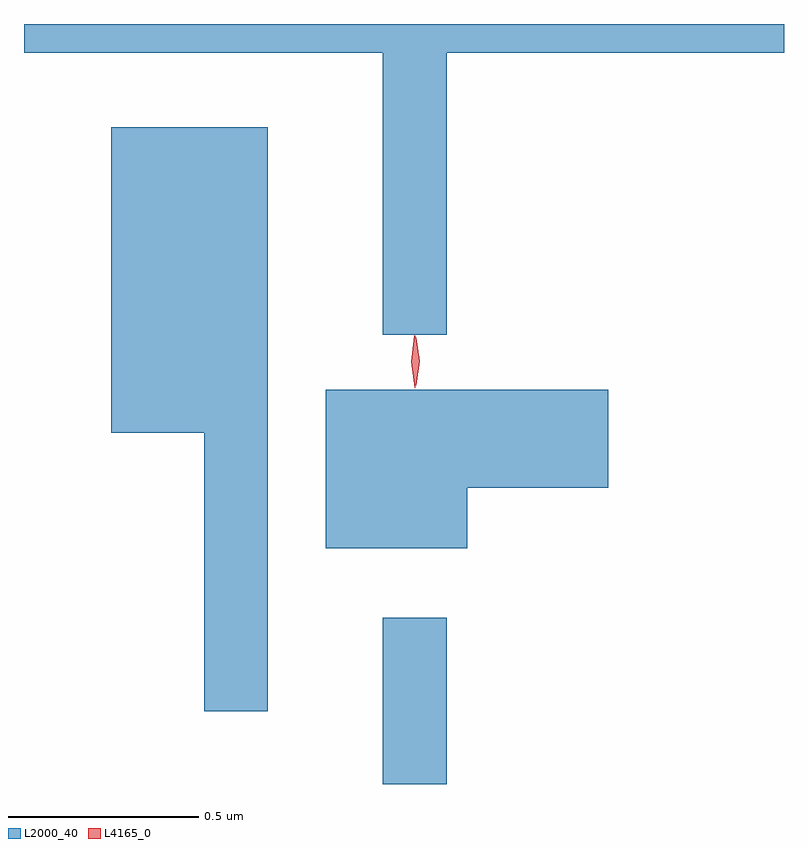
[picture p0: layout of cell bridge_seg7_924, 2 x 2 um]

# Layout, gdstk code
import gdstk
lib = gdstk.Library(unit=1e-6, precision=1e-09)
def R(c, l, rs):  # rectangles x0, y0, x1, y1
    for r in rs: c.add(gdstk.rectangle(r[:2], r[2:], *l))
def P(c, l, *ps):  # polygons
    for p in ps: c.add(gdstk.Polygon(p, *l))
L2000_40 = (2000, 40)
L4165_0 = (4165, 0)

bridge_seg7_924 = lib.new_cell('bridge_seg7_924')
R(bridge_seg7_924, L2000_40, [(576.761,1676.871,576.929,1677.308)])
P(bridge_seg7_924, L2000_40, [(576.929,1678.796),(577.817,1678.796),(577.817,1678.871),(575.817,1678.871),(575.817,1678.796),(576.761,1678.796),(576.761,1678.053),(576.929,1678.053)],
  [(576.459,1678.599),(576.046,1678.599),(576.046,1677.796),(576.291,1677.796),(576.291,1677.063),(576.459,1677.063)],
  [(576.984,1677.651),(577.354,1677.651),(577.354,1677.909),(576.611,1677.909),(576.611,1677.491),(576.984,1677.491)])
P(bridge_seg7_924, L4165_0, [(576.848,1677.92),(576.848,1677.92),(576.838,1677.983),(576.848,1678.046),(576.848,1678.047),(576.849,1678.046),(576.858,1677.983),(576.849,1677.92)],
  [(576.845,1677.914),(576.836,1677.982),(576.844,1678.05),(576.845,1678.05),(576.846,1678.05),(576.855,1677.982),(576.846,1677.914),(576.846,1677.914)])

lib.write_gds('bridge_seg7_924.gds')
